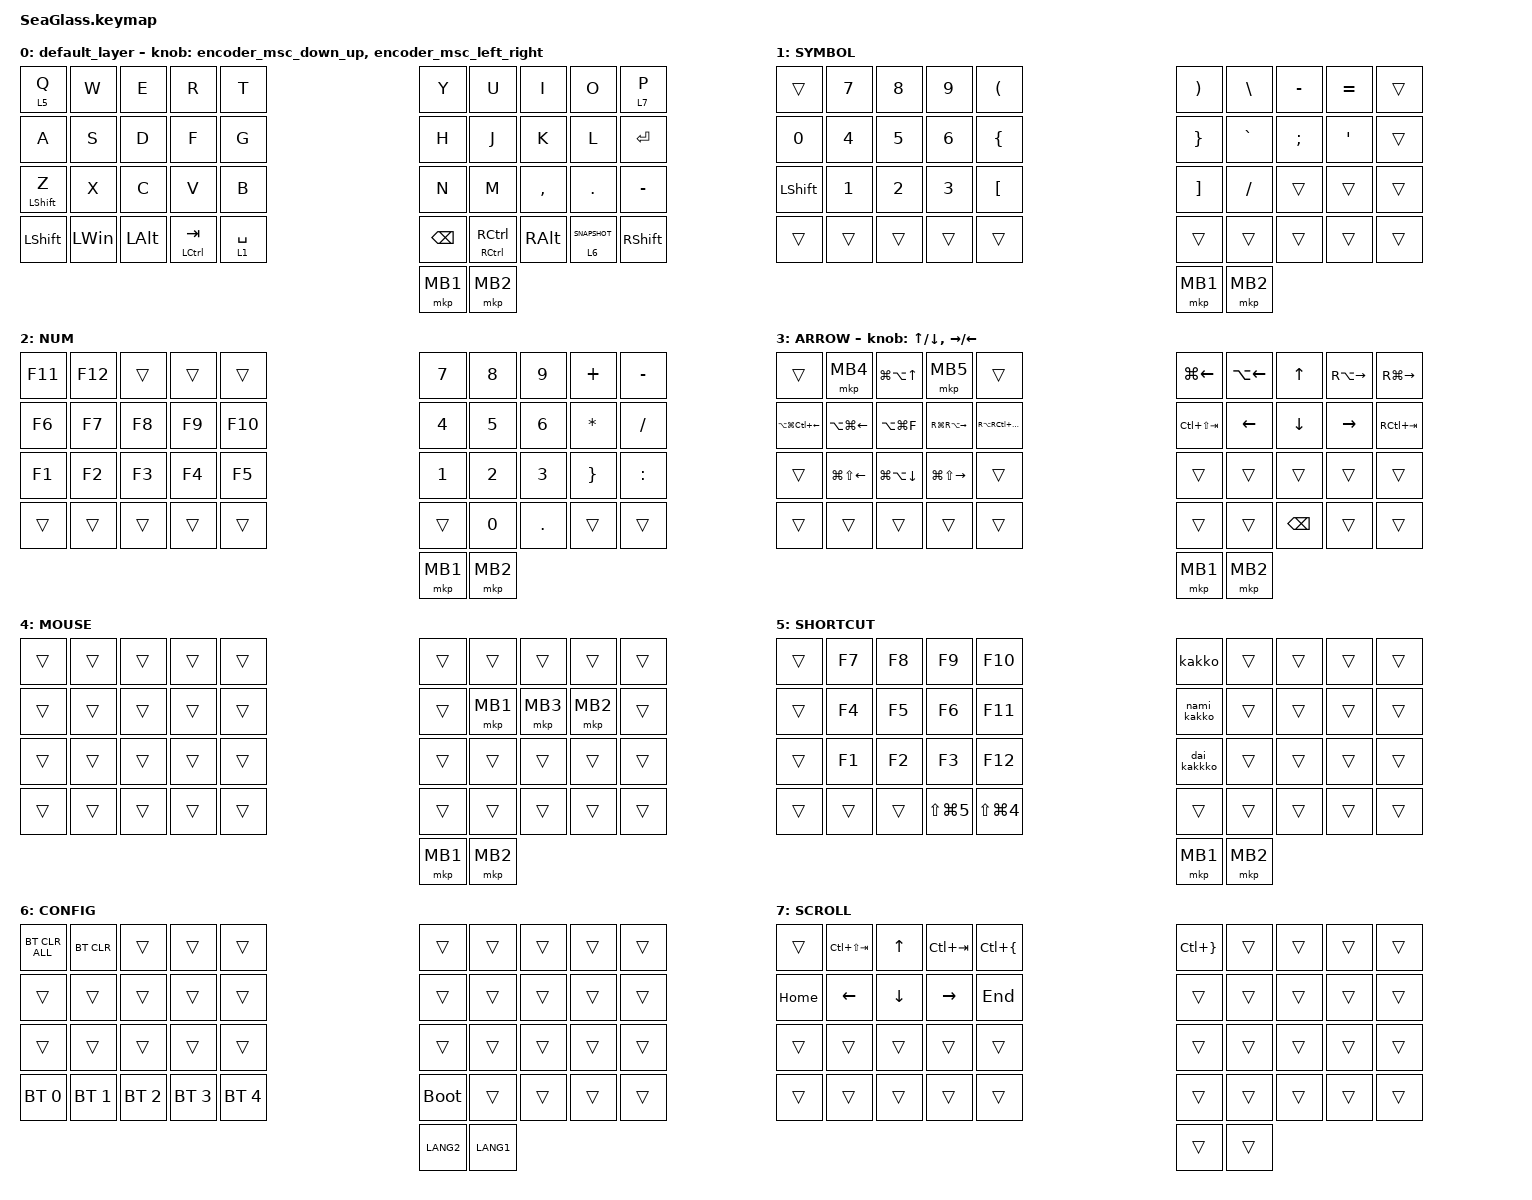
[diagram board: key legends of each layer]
#include <behaviors.dtsi>
#include <dt-bindings/zmk/bt.h>
#include <dt-bindings/zmk/keys.h>
#include <dt-bindings/zmk/pointing.h>

#define MOUSE 4
#define SCROLL 5
#define NUM 6
#define ZMK_POINTING_DEFAULT_SCRL_VAL 120

&mt {
    flavor = "balanced";
    quick-tap-ms = <300>;
};

&lt {
    flavor = "balanced";
    quick-tap-ms = <300>;
};

/ {
    combos {
        compatible = "zmk,combos";

        middle-click {
            bindings = <&mkp MB3>;
            key-positions = <40 41>;
        };

        tab {
            bindings = <&kp TAB>;
            key-positions = <10 11>;
        };

        backspace {
            bindings = <&kp DELETE>;
            key-positions = <8 9>;
        };

        f10 {
            bindings = <&kp F10>;
            key-positions = <1 34>;
        };

        lang1 {
            bindings = <&kp LANG1>;
            key-positions = <17 18>;
        };

        lang2 {
            bindings = <&kp LANG2>;
            key-positions = <12 11>;
        };

        esc {
            bindings = <&kp ESC>;
            key-positions = <16 17>;
        };
    };

    macros {
        to_layer_0: to_layer_0 {
            compatible = "zmk,behavior-macro-one-param";
            #binding-cells = <1>;
            bindings = <&to 0 &macro_param_1to1 &kp MACRO_PLACEHOLDER>;
            label = "TO_LAYER_0";
        };

        kakko: kakko {
            compatible = "zmk,behavior-macro";
            #binding-cells = <0>;
            bindings = <&kp LEFT_PARENTHESIS &kp RIGHT_PARENTHESIS &kp LEFT_ARROW>;
            label = "KAKKO";
        };

        dai_kakkko: daikakkko {
            compatible = "zmk,behavior-macro";
            #binding-cells = <0>;
            bindings = <&kp LEFT_BRACKET &kp RIGHT_BRACKET &kp LEFT_ARROW>;
            label = "DAIKAKKKO";
        };

        nami_kakko: nami_kakko {
            compatible = "zmk,behavior-macro";
            #binding-cells = <0>;
            bindings = <&kp LEFT_BRACE &kp RIGHT_BRACE &kp LEFT_ARROW>;
            label = "NAMI_KAKKO";
        };
    };

    behaviors {
        lt_to_layer_0: lt_to_layer_0 {
            compatible = "zmk,behavior-hold-tap";
            label = "LAYER_TAP_TO_0";
            bindings = <&mo>, <&to_layer_0>;

            #binding-cells = <2>;
            tapping-term-ms = <200>;
        };

        encoder_msc_down_up: encoder_msc_down_up {
            compatible = "zmk,behavior-sensor-rotate";
            label = "ENCODER_MSC_DOWN_UP";
            #sensor-binding-cells = <0>;
            bindings = <&msc SCRL_UP>, <&msc SCRL_DOWN>;

            tap-ms = <20>;
        };

        encoder_msc_left_right: encoder_msc_left_right {
            compatible = "zmk,behavior-sensor-rotate";
            label = "ENCODER_MSC_LEFT_RIGHT";
            #sensor-binding-cells = <0>;
            bindings = <&msc SCRL_LEFT>, <&msc SCRL_RIGHT>;

            tap-ms = <20>;
        };
    };

    keymap {
        compatible = "zmk,keymap";

        default_layer {
            bindings = <
&lt 5 Q           &kp W         &kp E         &kp R                 &kp T        &kp Y          &kp U                            &kp I          &kp O             &lt 7 P
&kp A             &kp S         &kp D         &kp F                 &kp G        &kp H          &kp J                            &kp K          &kp L             &kp ENTER
&mt LEFT_SHIFT Z  &kp X         &kp C         &kp V                 &kp B        &kp N          &kp M                            &kp COMMA      &kp PERIOD        &kp MINUS
&kp LEFT_SHIFT    &kp LEFT_WIN  &kp LEFT_ALT  &mt LEFT_CONTROL TAB  &lt 1 SPACE  &kp BACKSPACE  &mt RIGHT_CONTROL RIGHT_CONTROL  &kp RIGHT_ALT  &lt 6 C_SNAPSHOT  &kp RIGHT_SHIFT
&mkp MB1          &mkp MB2
            >;

            sensor-bindings = <&encoder_msc_down_up>, <&encoder_msc_left_right>;
        };

        SYMBOL {
            bindings = <
&trans          &kp N7        &kp N8        &kp N9        &kp LEFT_PARENTHESIS  &kp RIGHT_PARENTHESIS  &kp BACKSLASH  &kp MINUS  &kp EQUAL         &trans
&kp N0          &kp NUMBER_4  &kp N5        &kp NUMBER_6  &kp LEFT_BRACE        &kp RIGHT_BRACE        &kp GRAVE      &kp SEMI   &kp SINGLE_QUOTE  &trans
&kp LEFT_SHIFT  &kp NUMBER_1  &kp NUMBER_2  &kp NUMBER_3  &kp LBKT              &kp RBKT               &kp SLASH      &trans     &trans            &trans
&trans          &trans        &trans        &trans        &trans                &trans                 &trans         &trans     &trans            &trans
&mkp MB1        &mkp MB2
            >;
        };

        NUM {
            bindings = <
&kp F11   &kp F12   &trans  &trans  &trans   &kp N7        &kp NUMBER_8  &kp NUMBER_9  &kp PLUS         &kp MINUS
&kp F6    &kp F7    &kp F8  &kp F9  &kp F10  &kp NUMBER_4  &kp NUMBER_5  &kp NUMBER_6  &kp ASTERISK     &kp SLASH
&kp F1    &kp F2    &kp F3  &kp F4  &kp F5   &kp NUMBER_1  &kp NUMBER_2  &kp NUMBER_3  &kp RIGHT_BRACE  &kp COLON
&trans    &trans    &trans  &trans  &trans   &trans        &kp NUMBER_0  &kp PERIOD    &trans           &trans
&mkp MB1  &mkp MB2
            >;
        };

        ARROW {
            bindings = <
&trans                      &mkp MB4                &kp LG(LA(UP_ARROW))  &mkp MB5                 &trans                       &kp LG(LEFT_ARROW)  &kp LA(LEFT_ARROW)  &kp UP_ARROW    &kp RA(RIGHT_ARROW)  &kp RG(RIGHT_ARROW)
&kp LA(LG(LC(LEFT_ARROW)))  &kp LA(LG(LEFT_ARROW))  &kp LA(LG(F))         &kp RG(RA(RIGHT_ARROW))  &kp RA(RC(RG(RIGHT_ARROW)))  &kp LC(LS(TAB))     &kp LEFT_ARROW      &kp DOWN_ARROW  &kp RIGHT_ARROW      &kp RC(TAB)
&trans                      &kp LG(LS(LEFT_ARROW))  &kp LG(LA(DOWN))      &kp LG(LS(RIGHT_ARROW))  &trans                       &trans              &trans              &trans          &trans               &trans
&trans                      &trans                  &trans                &trans                   &trans                       &trans              &trans              &kp BACKSPACE   &trans               &trans
&mkp MB1                    &mkp MB2
            >;

            sensor-bindings =
                <&inc_dec_kp UP_ARROW DOWN_ARROW>,
                <&inc_dec_kp RIGHT_ARROW LEFT_ARROW>;
        };

        MOUSE {
            bindings = <
&trans    &trans    &trans  &trans  &trans  &trans  &trans    &trans    &trans    &trans
&trans    &trans    &trans  &trans  &trans  &trans  &mkp MB1  &mkp MB3  &mkp MB2  &trans
&trans    &trans    &trans  &trans  &trans  &trans  &trans    &trans    &trans    &trans
&trans    &trans    &trans  &trans  &trans  &trans  &trans    &trans    &trans    &trans
&mkp MB1  &mkp MB2
            >;
        };

        SHORTCUT {
            bindings = <
&trans    &kp F7    &kp F8  &kp F9          &kp F10         &kakko       &trans  &trans  &trans  &trans
&trans    &kp F4    &kp F5  &kp F6          &kp F11         &nami_kakko  &trans  &trans  &trans  &trans
&trans    &kp F1    &kp F2  &kp F3          &kp F12         &dai_kakkko  &trans  &trans  &trans  &trans
&trans    &trans    &trans  &kp LS(LG(N5))  &kp LS(LG(N4))  &trans       &trans  &trans  &trans  &trans
&mkp MB1  &mkp MB2
            >;
        };

        CONFIG {
            bindings = <
&bt BT_CLR_ALL  &bt BT_CLR    &trans        &trans        &trans        &trans       &trans  &trans  &trans  &trans
&trans          &trans        &trans        &trans        &trans        &trans       &trans  &trans  &trans  &trans
&trans          &trans        &trans        &trans        &trans        &trans       &trans  &trans  &trans  &trans
&bt BT_SEL 0    &bt BT_SEL 1  &bt BT_SEL 2  &bt BT_SEL 3  &bt BT_SEL 4  &bootloader  &trans  &trans  &trans  &trans
&kp LANG2       &kp LANG1
            >;
        };

        SCROLL {
            bindings = <
&trans    &kp LC(LS(TAB))  &kp UP_ARROW    &kp LC(TAB)      &kp LC(LEFT_BRACE)  &kp LC(RIGHT_BRACE)  &trans  &trans  &trans  &trans
&kp HOME  &kp LEFT_ARROW   &kp DOWN_ARROW  &kp RIGHT_ARROW  &kp END             &trans               &trans  &trans  &trans  &trans
&trans    &trans           &trans          &trans           &trans              &trans               &trans  &trans  &trans  &trans
&trans    &trans           &trans          &trans           &trans              &trans               &trans  &trans  &trans  &trans
&trans    &trans
            >;
        };
    };
};
